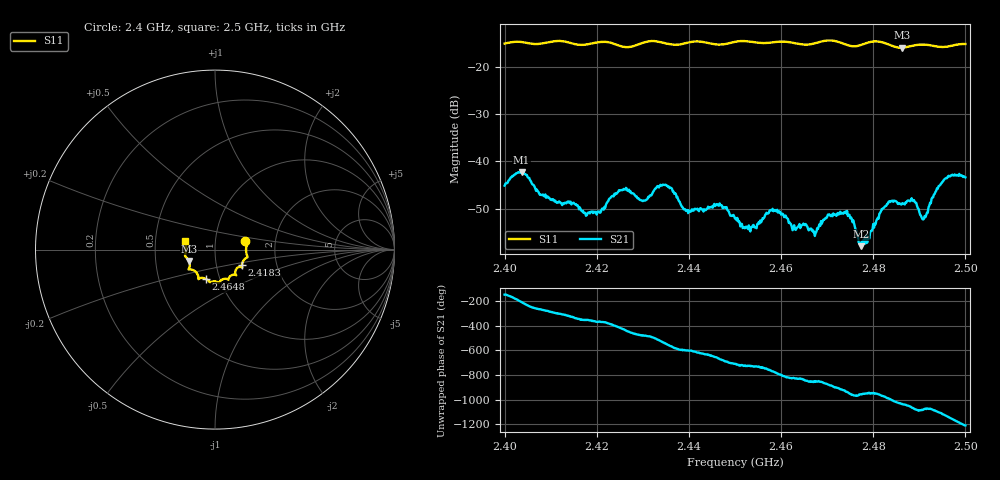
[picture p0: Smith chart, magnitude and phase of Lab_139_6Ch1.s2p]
# Hz S RI R 50
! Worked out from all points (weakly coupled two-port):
!   601 points, 2.4 GHz to 2.5 GHz, reference 50 ohm
!   highest |S21| = -42.23 dB at 2.4037 GHz (marker M1); lowest = -57.9 dB at 2.4773 GHz (marker M2)
!   lowest |S11| = -16.0 dB at 2.4862 GHz (marker M3), VSWR 1.38, Z = 37.1 - j4.83 ohm
!   |S11| at or under -10 dB: start of sweep to end of sweep
!   S12 and S22 are empty: the file has one direction only
!   S11 on the Smith chart (normalised r, x): 2.4 GHz: 1.40, +0.13; 2.4183 GHz: 1.33, -0.24; 2.4648 GHz: 0.86, -0.29; 2.5 GHz: 0.71, +0.07
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2.4e9  0.1689 0.0457  -0.00461 -0.00306  0 0  0 0
2.403667e9  0.1793 0.0292  -0.00687 0.00354  0 0  0 0
2.416667e9  0.1548 -0.0684  0.00294 0.000646  0 0  0 0
2.418333e9  0.1497 -0.0868  0.00288 0.000262  0 0  0 0
2.425333e9  0.131 -0.0975  0.00245 -0.00433  0 0  0 0
2.430167e9  0.1144 -0.1381  -0.00186 -0.00339  0 0  0 0
2.433333e9  0.1167 -0.1414  -0.00484 -0.00246  0 0  0 0
2.439333e9  0.0768 -0.159  -0.00153 0.00259  0 0  0 0
2.4465e9  0.0483 -0.1636  0.00196 0.00278  0 0  0 0
2.45e9  0.025 -0.1808  0.00244 0.000517  0 0  0 0
2.453167e9  0.0177 -0.1828  0.0019 -0.000129  0 0  0 0
2.458667e9  -0.0221 -0.1799  0.00165 -0.00258  0 0  0 0
2.464833e9  -0.0511 -0.1629  -0.00101 -0.00196  0 0  0 0
2.466667e9  -0.0715 -0.1575  -0.00125 -0.00138  0 0  0 0
2.473833e9  -0.0948 -0.1438  -0.0026 0.00124  0 0  0 0
2.477333e9  -0.1255 -0.1127  -0.000715 0.00105  0 0  0 0
2.483333e9  -0.1419 -0.0958  4.22e-05 0.00374  0 0  0 0
2.486167e9  -0.1447 -0.0635  0.0025 0.00246  0 0  0 0
2.488833e9  -0.1619 -0.0416  0.00387 0.000452  0 0  0 0
2.491e9  -0.1674 -0.0331  0.00248 0.000138  0 0  0 0
2.495333e9  -0.1608 0.00864  0.00476 -0.00422  0 0  0 0
2.5e9  -0.1666 0.0467  -0.00427 -0.00524  0 0  0 0
